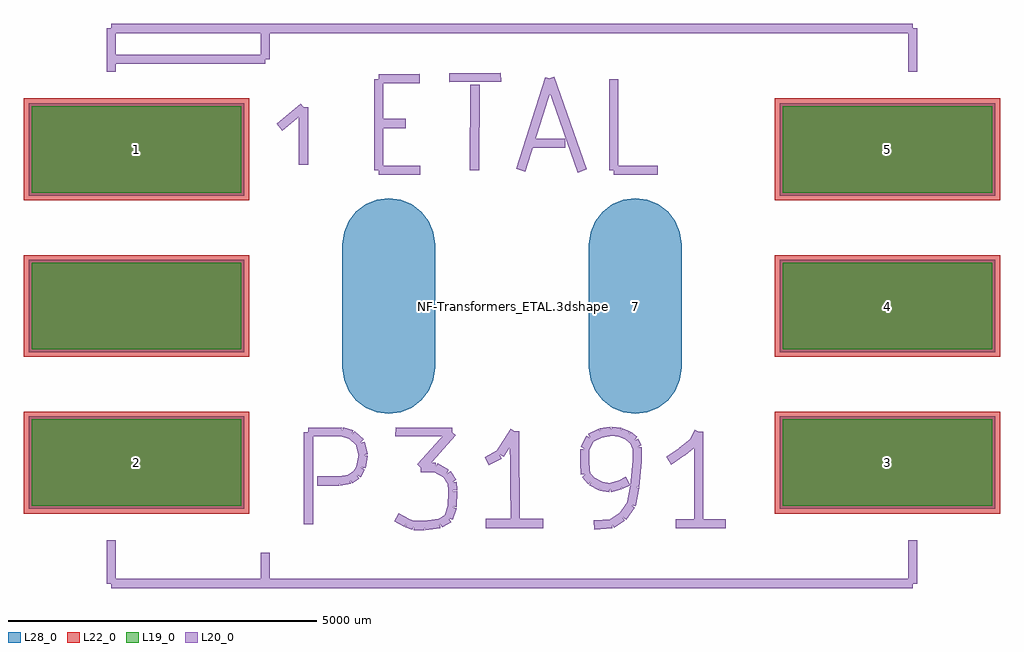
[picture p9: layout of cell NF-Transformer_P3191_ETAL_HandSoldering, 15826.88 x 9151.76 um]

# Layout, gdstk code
import gdstk
lib = gdstk.Library(unit=1e-6, precision=1e-09)
def R(c, l, rs):  # rectangles x0, y0, x1, y1
    for r in rs: c.add(gdstk.rectangle(r[:2], r[2:], *l))
def A(c, l, x, y, w, h, nx, ny, dx, dy):  # array of equal rectangles
    R(c, l, [(x+i*dx, y+j*dy, x+i*dx+w, y+j*dy+h) for i in range(nx) for j in range(ny)])
def P(c, l, *ps):  # polygons
    for p in ps: c.add(gdstk.Polygon(p, *l))
L19_0 = (19, 0)
L20_0 = (20, 0)
L22_0 = (22, 0)
L28_0 = (28, 0)

nf_transformer_p3191_eta = lib.new_cell('NF-Transformer_P3191_ETAL_HandSoldering')
A(nf_transformer_p3191_eta, L19_0, -7788.44, -3240.57, 3400.12, 1401.14, 1, 3, 0, 2540)
A(nf_transformer_p3191_eta, L19_0, 4388.32, -3240.57, 3400.12, 1401.14, 1, 3, 0, 2540)
A(nf_transformer_p3191_eta, L22_0, -7913.44, -3365.57, 3650.12, 1651.14, 1, 3, 0, 2540)
A(nf_transformer_p3191_eta, L22_0, 4263.32, -3365.57, 3650.12, 1651.14, 1, 3, 0, 2540)
A(nf_transformer_p3191_eta, L28_0, -7838.44, -3290.57, 3500.12, 1501.14, 1, 3, 0, 2540)
A(nf_transformer_p3191_eta, L28_0, 4338.32, -3290.57, 3500.12, 1501.14, 1, 3, 0, 2540)
P(nf_transformer_p3191_eta, L28_0, [(-1998.98,-1750.06),(-1804.718,-1724.485),(-1623.695,-1649.503),(-1468.247,-1530.223),(-1348.967,-1374.775),(-1273.985,-1193.752),(-1248.41,-999.49),(-1248.41,999.49),(-1273.985,1193.752),(-1348.967,1374.775),(-1468.247,1530.223),(-1623.695,1649.503),(-1804.718,1724.485),(-1998.98,1750.06),(-2193.242,1724.485),(-2374.265,1649.503),(-2529.713,1530.223),(-2648.993,1374.775),(-2723.975,1193.752),(-2749.55,999.49),(-2749.55,-999.49),(-2723.975,-1193.752),(-2648.993,-1374.775),(-2529.713,-1530.223),(-2374.265,-1649.503),(-2193.242,-1724.485)],
  [(1998.98,-1750.06),(2193.242,-1724.485),(2374.265,-1649.503),(2529.713,-1530.223),(2648.993,-1374.775),(2723.975,-1193.752),(2749.55,-999.49),(2749.55,999.49),(2723.975,1193.752),(2648.993,1374.775),(2529.713,1530.223),(2374.265,1649.503),(2193.242,1724.485),(1998.98,1750.06),(1804.718,1724.485),(1623.695,1649.503),(1468.247,1530.223),(1348.967,1374.775),(1273.985,1193.752),(1248.41,999.49),(1248.41,-999.49),(1273.985,-1193.752),(1348.967,-1374.775),(1468.247,-1530.223),(1623.695,-1649.503),(1804.718,-1724.485)])
nf_transformer_p3191_eta.add(gdstk.FlexPath([(-6499.86,-4500.88),(6499.86,-4500.88)], 149.998, ends="flush", simple_path=True, layer=20, datatype=0))  # L20_0
nf_transformer_p3191_eta.add(gdstk.FlexPath([(6499.86,4500.88),(-6499.86,4500.88)], 149.998, ends="flush", simple_path=True, layer=20, datatype=0))  # L20_0
nf_transformer_p3191_eta.add(gdstk.FlexPath([(6499.86,4500.88),(6499.86,3799.84)], 149.998, ends="flush", simple_path=True, layer=20, datatype=0))  # L20_0
nf_transformer_p3191_eta.add(gdstk.FlexPath([(6499.86,-3799.84),(6499.86,-4500.88)], 149.998, ends="flush", simple_path=True, layer=20, datatype=0))  # L20_0
nf_transformer_p3191_eta.add(gdstk.FlexPath([(-6499.86,-3799.84),(-6499.86,-4500.88)], 149.998, ends="flush", simple_path=True, layer=20, datatype=0))  # L20_0
nf_transformer_p3191_eta.add(gdstk.FlexPath([(-6499.86,4500.88),(-6499.86,3799.84)], 149.998, ends="flush", simple_path=True, layer=20, datatype=0))  # L20_0
nf_transformer_p3191_eta.add(gdstk.FlexPath([(-2159,2199.64),(-1488.44,2199.64)], 149.998, ends="flush", simple_path=True, layer=20, datatype=0))  # L20_0
nf_transformer_p3191_eta.add(gdstk.FlexPath([(-2159,3680.46),(-2159,2199.64)], 149.998, ends="flush", simple_path=True, layer=20, datatype=0))  # L20_0
nf_transformer_p3191_eta.add(gdstk.FlexPath([(-1498.6,3690.62),(-2159,3680.46)], 149.998, ends="flush", simple_path=True, layer=20, datatype=0))  # L20_0
nf_transformer_p3191_eta.add(gdstk.FlexPath([(-2128.52,2959.1),(-1719.58,2959.1)], 149.998, ends="flush", simple_path=True, layer=20, datatype=0))  # L20_0
nf_transformer_p3191_eta.add(gdstk.FlexPath([(-1018.54,3700.78),(-177.8,3710.94)], 149.998, ends="flush", simple_path=True, layer=20, datatype=0))  # L20_0
nf_transformer_p3191_eta.add(gdstk.FlexPath([(-609.6,2199.64),(-599.44,3589.02)], 149.998, ends="flush", simple_path=True, layer=20, datatype=0))  # L20_0
nf_transformer_p3191_eta.add(gdstk.FlexPath([(612.14,3690.62),(1140.46,2189.48)], 149.998, ends="flush", simple_path=True, layer=20, datatype=0))  # L20_0
nf_transformer_p3191_eta.add(gdstk.FlexPath([(142.24,2199.64),(612.14,3690.62)], 149.998, ends="flush", simple_path=True, layer=20, datatype=0))  # L20_0
nf_transformer_p3191_eta.add(gdstk.FlexPath([(320.04,2639.06),(861.06,2639.06)], 149.998, ends="flush", simple_path=True, layer=20, datatype=0))  # L20_0
nf_transformer_p3191_eta.add(gdstk.FlexPath([(1651,2199.64),(2362.2,2199.64)], 149.998, ends="flush", simple_path=True, layer=20, datatype=0))  # L20_0
nf_transformer_p3191_eta.add(gdstk.FlexPath([(1651,3680.46),(1651,2199.64)], 149.998, ends="flush", simple_path=True, layer=20, datatype=0))  # L20_0
nf_transformer_p3191_eta.add(gdstk.FlexPath([(-2799.08,-2837.18),(-3159.76,-2837.18)], 149.998, ends="flush", simple_path=True, layer=20, datatype=0))  # L20_0
nf_transformer_p3191_eta.add(gdstk.FlexPath([(-2628.9,-2809.24),(-2799.08,-2837.18)], 149.998, ends="flush", simple_path=True, layer=20, datatype=0))  # L20_0
nf_transformer_p3191_eta.add(gdstk.FlexPath([(-2519.68,-2738.12),(-2628.9,-2809.24)], 149.998, ends="flush", simple_path=True, layer=20, datatype=0))  # L20_0
nf_transformer_p3191_eta.add(gdstk.FlexPath([(-2448.56,-2618.74),(-2519.68,-2738.12)], 149.998, ends="flush", simple_path=True, layer=20, datatype=0))  # L20_0
nf_transformer_p3191_eta.add(gdstk.FlexPath([(-2410.46,-2418.08),(-2448.56,-2618.74)], 149.998, ends="flush", simple_path=True, layer=20, datatype=0))  # L20_0
nf_transformer_p3191_eta.add(gdstk.FlexPath([(-2458.72,-2217.42),(-2410.46,-2418.08)], 149.998, ends="flush", simple_path=True, layer=20, datatype=0))  # L20_0
nf_transformer_p3191_eta.add(gdstk.FlexPath([(-2598.42,-2087.88),(-2458.72,-2217.42)], 149.998, ends="flush", simple_path=True, layer=20, datatype=0))  # L20_0
nf_transformer_p3191_eta.add(gdstk.FlexPath([(-2758.44,-2039.62),(-2598.42,-2087.88)], 149.998, ends="flush", simple_path=True, layer=20, datatype=0))  # L20_0
nf_transformer_p3191_eta.add(gdstk.FlexPath([(-3299.46,-2047.24),(-2758.44,-2039.62)], 149.998, ends="flush", simple_path=True, layer=20, datatype=0))  # L20_0
nf_transformer_p3191_eta.add(gdstk.FlexPath([(-3299.46,-3538.22),(-3299.46,-2047.24)], 149.998, ends="flush", simple_path=True, layer=20, datatype=0))  # L20_0
nf_transformer_p3191_eta.add(gdstk.FlexPath([(-1709.42,-3517.9),(-1869.44,-3429)], 149.998, ends="flush", simple_path=True, layer=20, datatype=0))  # L20_0
nf_transformer_p3191_eta.add(gdstk.FlexPath([(-1590.04,-3558.54),(-1709.42,-3517.9)], 149.998, ends="flush", simple_path=True, layer=20, datatype=0))  # L20_0
nf_transformer_p3191_eta.add(gdstk.FlexPath([(-1419.86,-3558.54),(-1590.04,-3558.54)], 149.998, ends="flush", simple_path=True, layer=20, datatype=0))  # L20_0
nf_transformer_p3191_eta.add(gdstk.FlexPath([(-1170.94,-3528.06),(-1419.86,-3558.54)], 149.998, ends="flush", simple_path=True, layer=20, datatype=0))  # L20_0
nf_transformer_p3191_eta.add(gdstk.FlexPath([(-1028.7,-3439.16),(-1170.94,-3528.06)], 149.998, ends="flush", simple_path=True, layer=20, datatype=0))  # L20_0
nf_transformer_p3191_eta.add(gdstk.FlexPath([(-970.28,-3258.82),(-1028.7,-3439.16)], 149.998, ends="flush", simple_path=True, layer=20, datatype=0))  # L20_0
nf_transformer_p3191_eta.add(gdstk.FlexPath([(-960.12,-2997.2),(-970.28,-3258.82)], 149.998, ends="flush", simple_path=True, layer=20, datatype=0))  # L20_0
nf_transformer_p3191_eta.add(gdstk.FlexPath([(-970.28,-2857.5),(-960.12,-2997.2)], 149.998, ends="flush", simple_path=True, layer=20, datatype=0))  # L20_0
nf_transformer_p3191_eta.add(gdstk.FlexPath([(-1059.18,-2717.8),(-970.28,-2857.5)], 149.998, ends="flush", simple_path=True, layer=20, datatype=0))  # L20_0
nf_transformer_p3191_eta.add(gdstk.FlexPath([(-1239.52,-2618.74),(-1059.18,-2717.8)], 149.998, ends="flush", simple_path=True, layer=20, datatype=0))  # L20_0
nf_transformer_p3191_eta.add(gdstk.FlexPath([(-1480.82,-2618.74),(-1239.52,-2618.74)], 149.998, ends="flush", simple_path=True, layer=20, datatype=0))  # L20_0
nf_transformer_p3191_eta.add(gdstk.FlexPath([(-970.28,-2047.24),(-1480.82,-2618.74)], 149.998, ends="flush", simple_path=True, layer=20, datatype=0))  # L20_0
nf_transformer_p3191_eta.add(gdstk.FlexPath([(-1889.76,-2039.62),(-970.28,-2047.24)], 149.998, ends="flush", simple_path=True, layer=20, datatype=0))  # L20_0
nf_transformer_p3191_eta.add(gdstk.FlexPath([(40.64,-2029.46),(50.8,-3528.06)], 149.998, ends="flush", simple_path=True, layer=20, datatype=0))  # L20_0
nf_transformer_p3191_eta.add(gdstk.FlexPath([(-200.66,-2407.92),(40.64,-2029.46)], 149.998, ends="flush", simple_path=True, layer=20, datatype=0))  # L20_0
nf_transformer_p3191_eta.add(gdstk.FlexPath([(-408.94,-2517.14),(-200.66,-2407.92)], 149.998, ends="flush", simple_path=True, layer=20, datatype=0))  # L20_0
nf_transformer_p3191_eta.add(gdstk.FlexPath([(-429.26,-3528.06),(510.54,-3528.06)], 149.998, ends="flush", simple_path=True, layer=20, datatype=0))  # L20_0
nf_transformer_p3191_eta.add(gdstk.FlexPath([(-4000.5,4500.88),(-4000.5,4000.5)], 149.998, ends="flush", simple_path=True, layer=20, datatype=0))  # L20_0
nf_transformer_p3191_eta.add(gdstk.FlexPath([(-4000.5,-4500.88),(-4000.5,-4000.5)], 149.998, ends="flush", simple_path=True, layer=20, datatype=0))  # L20_0
nf_transformer_p3191_eta.add(gdstk.FlexPath([(1760.22,-2900.68),(1879.6,-2839.72)], 149.998, ends="flush", simple_path=True, layer=20, datatype=0))  # L20_0
nf_transformer_p3191_eta.add(gdstk.FlexPath([(1590.04,-2948.94),(1760.22,-2900.68)], 149.998, ends="flush", simple_path=True, layer=20, datatype=0))  # L20_0
nf_transformer_p3191_eta.add(gdstk.FlexPath([(1440.18,-2921),(1590.04,-2948.94)], 149.998, ends="flush", simple_path=True, layer=20, datatype=0))  # L20_0
nf_transformer_p3191_eta.add(gdstk.FlexPath([(1290.32,-2839.72),(1440.18,-2921)], 149.998, ends="flush", simple_path=True, layer=20, datatype=0))  # L20_0
nf_transformer_p3191_eta.add(gdstk.FlexPath([(1191.26,-2730.5),(1290.32,-2839.72)], 149.998, ends="flush", simple_path=True, layer=20, datatype=0))  # L20_0
nf_transformer_p3191_eta.add(gdstk.FlexPath([(1181.1,-2540),(1191.26,-2730.5)], 149.998, ends="flush", simple_path=True, layer=20, datatype=0))  # L20_0
nf_transformer_p3191_eta.add(gdstk.FlexPath([(1181.1,-2319.02),(1181.1,-2540)], 149.998, ends="flush", simple_path=True, layer=20, datatype=0))  # L20_0
nf_transformer_p3191_eta.add(gdstk.FlexPath([(1270,-2141.22),(1181.1,-2319.02)], 149.998, ends="flush", simple_path=True, layer=20, datatype=0))  # L20_0
nf_transformer_p3191_eta.add(gdstk.FlexPath([(1440.18,-2059.94),(1270,-2141.22)], 149.998, ends="flush", simple_path=True, layer=20, datatype=0))  # L20_0
nf_transformer_p3191_eta.add(gdstk.FlexPath([(1610.36,-2029.46),(1440.18,-2059.94)], 149.998, ends="flush", simple_path=True, layer=20, datatype=0))  # L20_0
nf_transformer_p3191_eta.add(gdstk.FlexPath([(1760.22,-2049.78),(1610.36,-2029.46)], 149.998, ends="flush", simple_path=True, layer=20, datatype=0))  # L20_0
nf_transformer_p3191_eta.add(gdstk.FlexPath([(1879.6,-2100.58),(1760.22,-2049.78)], 149.998, ends="flush", simple_path=True, layer=20, datatype=0))  # L20_0
nf_transformer_p3191_eta.add(gdstk.FlexPath([(1981.2,-2179.32),(1879.6,-2100.58)], 149.998, ends="flush", simple_path=True, layer=20, datatype=0))  # L20_0
nf_transformer_p3191_eta.add(gdstk.FlexPath([(2029.46,-2291.08),(1981.2,-2179.32)], 149.998, ends="flush", simple_path=True, layer=20, datatype=0))  # L20_0
nf_transformer_p3191_eta.add(gdstk.FlexPath([(2029.46,-2509.52),(2029.46,-2291.08)], 149.998, ends="flush", simple_path=True, layer=20, datatype=0))  # L20_0
nf_transformer_p3191_eta.add(gdstk.FlexPath([(1988.82,-2931.16),(2029.46,-2509.52)], 149.998, ends="flush", simple_path=True, layer=20, datatype=0))  # L20_0
nf_transformer_p3191_eta.add(gdstk.FlexPath([(1930.4,-3230.88),(1988.82,-2931.16)], 149.998, ends="flush", simple_path=True, layer=20, datatype=0))  # L20_0
nf_transformer_p3191_eta.add(gdstk.FlexPath([(1790.7,-3418.84),(1930.4,-3230.88)], 149.998, ends="flush", simple_path=True, layer=20, datatype=0))  # L20_0
nf_transformer_p3191_eta.add(gdstk.FlexPath([(1620.52,-3530.6),(1790.7,-3418.84)], 149.998, ends="flush", simple_path=True, layer=20, datatype=0))  # L20_0
nf_transformer_p3191_eta.add(gdstk.FlexPath([(1330.96,-3550.92),(1620.52,-3530.6)], 149.998, ends="flush", simple_path=True, layer=20, datatype=0))  # L20_0
nf_transformer_p3191_eta.add(gdstk.FlexPath([(3030.22,-2039.62),(3030.22,-3510.28)], 149.998, ends="flush", simple_path=True, layer=20, datatype=0))  # L20_0
nf_transformer_p3191_eta.add(gdstk.FlexPath([(2948.94,-2209.8),(3030.22,-2039.62)], 149.998, ends="flush", simple_path=True, layer=20, datatype=0))  # L20_0
nf_transformer_p3191_eta.add(gdstk.FlexPath([(2760.98,-2359.66),(2948.94,-2209.8)], 149.998, ends="flush", simple_path=True, layer=20, datatype=0))  # L20_0
nf_transformer_p3191_eta.add(gdstk.FlexPath([(2540,-2509.52),(2760.98,-2359.66)], 149.998, ends="flush", simple_path=True, layer=20, datatype=0))  # L20_0
nf_transformer_p3191_eta.add(gdstk.FlexPath([(2659.38,-3530.6),(3469.64,-3530.6)], 149.998, ends="flush", simple_path=True, layer=20, datatype=0))  # L20_0
nf_transformer_p3191_eta.add(gdstk.FlexPath([(-4000.5,4000.5),(-6421.12,4000.5)], 149.998, ends="flush", simple_path=True, layer=20, datatype=0))  # L20_0
nf_transformer_p3191_eta.add(gdstk.FlexPath([(-3380.74,3220.72),(-3380.74,2291.08)], 149.998, ends="flush", simple_path=True, layer=20, datatype=0))  # L20_0
nf_transformer_p3191_eta.add(gdstk.FlexPath([(-3769.36,2900.68),(-3380.74,3220.72)], 149.998, ends="flush", simple_path=True, layer=20, datatype=0))  # L20_0
nf_transformer_p3191_eta.add(gdstk.Label('NF-Transformers_ETAL.3dshapes/NF-Transformer_P3191_ETAL_HandSoldering.wrl', (0,0), layer=12, texttype=0))
nf_transformer_p3191_eta.add(gdstk.Label('7', (1998.98,0), layer=28, texttype=0))
nf_transformer_p3191_eta.add(gdstk.Label('5', (6088.38,2540), layer=28, texttype=0))
nf_transformer_p3191_eta.add(gdstk.Label('4', (6088.38,0), layer=28, texttype=0))
nf_transformer_p3191_eta.add(gdstk.Label('3', (6088.38,-2540), layer=28, texttype=0))
nf_transformer_p3191_eta.add(gdstk.Label('2', (-6088.38,-2540), layer=28, texttype=0))
nf_transformer_p3191_eta.add(gdstk.Label('1', (-6088.38,2540), layer=28, texttype=0))
nf_transformer_p3191_eta.add(gdstk.Label('type', (0,-6499.86), layer=9, texttype=0))
nf_transformer_p3191_eta.add(gdstk.Label('devicename', (0,7000.24), layer=9, texttype=0))

lib.write_gds('NF-Transformer_P3191_ETAL_HandSoldering.gds')
